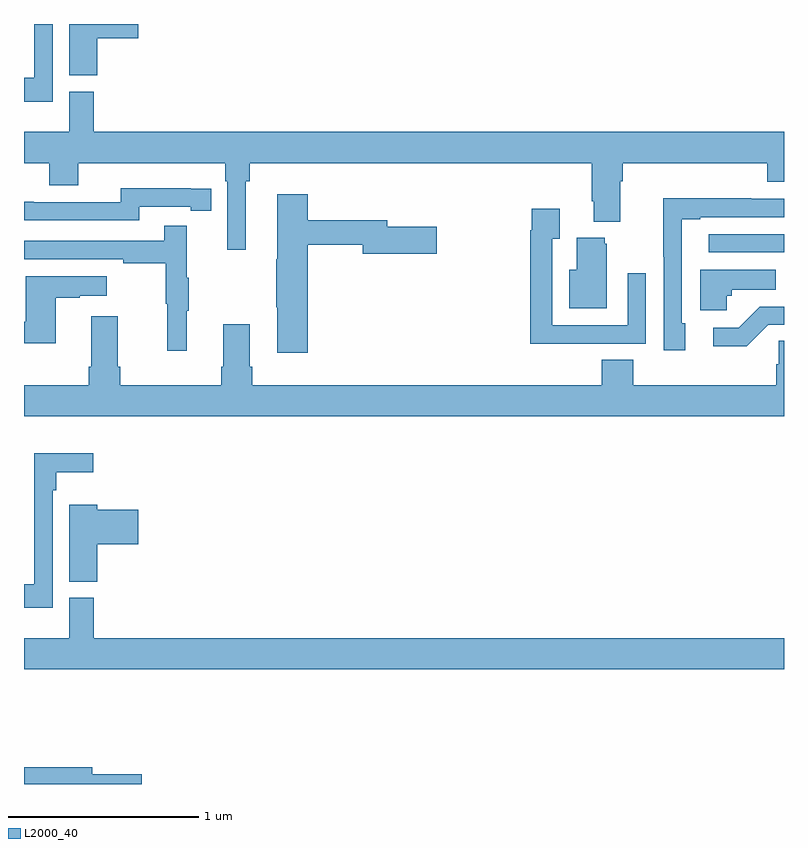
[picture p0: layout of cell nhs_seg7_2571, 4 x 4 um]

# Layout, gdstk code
import gdstk
lib = gdstk.Library(unit=1e-6, precision=1e-09)
def R(c, l, rs):  # rectangles x0, y0, x1, y1
    for r in rs: c.add(gdstk.rectangle(r[:2], r[2:], *l))
def P(c, l, *ps):  # polygons
    for p in ps: c.add(gdstk.Polygon(p, *l))
L2000_40 = (2000, 40)

nhs_seg7_2571 = lib.new_cell('nhs_seg7_2571')
R(nhs_seg7_2571, L2000_40, [(282.603,1014.798,283,1014.894)])
P(nhs_seg7_2571, L2000_40, [(279.386,1015.925),(279.601,1015.925),(279.601,1016),(279.239,1016),(279.239,1015.729),(279.386,1015.729)],
  [(279.15,1016),(279.054,1016),(279.054,1015.716),(279,1015.716),(279,1015.592),(279.15,1015.592)],
  [(280.168,1015.172),(280.187,1015.172),(280.187,1015.268),(281.987,1015.268),(281.987,1015.066),(281.999,1015.066),(281.999,1014.959),(282.139,1014.959),(282.139,1015.172),(282.152,1015.172),(282.152,1015.268),(282.911,1015.268),(282.911,1015.169),(283,1015.169),(283,1015.432),(279.368,1015.432),(279.368,1015.644),(279.239,1015.644),(279.239,1015.432),(279,1015.432),(279,1015.268),(279.134,1015.268),(279.134,1015.151),(279.286,1015.151),(279.286,1015.268),(280.058,1015.268),(280.058,1015.172),(280.071,1015.172),(280.071,1014.813),(280.168,1014.813)],
  [(279.606,1015.038),(279.878,1015.038),(279.878,1015.018),(279.986,1015.018),(279.986,1015.134),(279.878,1015.134),(279.878,1015.135),(279.51,1015.135),(279.51,1015.062),(279.05,1015.062),(279.05,1015.064),(279,1015.064),(279,1014.966),(279.606,1014.966)],
  [(280.493,1014.838),(280.784,1014.838),(280.784,1014.791),(281.173,1014.791),(281.173,1014.933),(280.912,1014.933),(280.912,1014.967),(280.493,1014.967),(280.493,1015.105),(280.334,1015.105),(280.334,1014.761),(280.327,1014.761),(280.327,1014.508),(280.334,1014.508),(280.334,1014.27),(280.493,1014.27)],
  [(282.481,1014.426),(282.462,1014.426),(282.462,1014.972),(282.559,1014.972),(282.559,1014.984),(283,1014.984),(283,1015.08),(282.827,1015.08),(282.827,1015.082),(282.364,1015.082),(282.364,1014.775),(282.366,1014.775),(282.366,1014.282),(282.481,1014.282)],
  [(281.957,1014.318),(282.273,1014.318),(282.273,1014.688),(282.177,1014.688),(282.177,1014.414),(281.781,1014.414),(281.781,1014.871),(281.821,1014.871),(281.821,1015.027),(281.673,1015.027),(281.673,1014.914),(281.665,1014.914),(281.665,1014.317),(281.957,1014.317)],
  [(279.857,1014.491),(279.868,1014.491),(279.868,1014.665),(279.857,1014.665),(279.857,1014.937),(279.739,1014.937),(279.739,1014.858),(279,1014.858),(279,1014.762),(279.523,1014.762),(279.523,1014.742),(279.747,1014.742),(279.747,1014.528),(279.754,1014.528),(279.754,1014.279),(279.857,1014.279)],
  [(282.067,1014.843),(282.056,1014.843),(282.056,1014.874),(281.909,1014.874),(281.909,1014.706),(281.87,1014.706),(281.87,1014.503),(282.067,1014.503)],
  [(282.699,1014.57),(282.726,1014.57),(282.726,1014.602),(282.956,1014.602),(282.956,1014.706),(282.56,1014.706),(282.56,1014.494),(282.699,1014.494)],
  [(279.166,1014.559),(279.293,1014.559),(279.293,1014.569),(279.436,1014.569),(279.436,1014.673),(279.008,1014.673),(279.008,1014.433),(279.001,1014.433),(279.001,1014.321),(279.166,1014.321)],
  [(282.918,1014.417),(283,1014.417),(283,1014.513),(282.872,1014.513),(282.761,1014.402),(282.627,1014.402),(282.627,1014.305),(282.805,1014.305)],
  [(283,1014.332),(282.972,1014.332),(282.972,1014.209),(282.959,1014.209),(282.959,1014.1),(282.206,1014.1),(282.206,1014.233),(282.041,1014.233),(282.041,1014.1),(280.202,1014.1),(280.202,1014.196),(280.189,1014.196),(280.189,1014.421),(280.049,1014.421),(280.049,1014.196),(280.037,1014.196),(280.037,1014.1),(279.506,1014.1),(279.506,1014.196),(279.493,1014.196),(279.493,1014.463),(279.353,1014.463),(279.353,1014.196),(279.341,1014.196),(279.341,1014.1),(279,1014.1),(279,1013.936),(283,1013.936)],
  [(279.15,1013.546),(279.17,1013.546),(279.17,1013.642),(279.364,1013.642),(279.364,1013.741),(279.054,1013.741),(279.054,1013.052),(279,1013.052),(279,1012.928),(279.15,1012.928)],
  [(279.386,1013.261),(279.601,1013.261),(279.601,1013.444),(279.386,1013.444),(279.386,1013.47),(279.239,1013.47),(279.239,1013.065),(279.386,1013.065)],
  [(283,1012.768),(279.368,1012.768),(279.368,1012.98),(279.239,1012.98),(279.239,1012.768),(279,1012.768),(279,1012.604),(283,1012.604)],
  [(279.619,1012.052),(279.358,1012.052),(279.358,1012.088),(279,1012.088),(279,1012),(279.619,1012)])

lib.write_gds('nhs_seg7_2571.gds')
